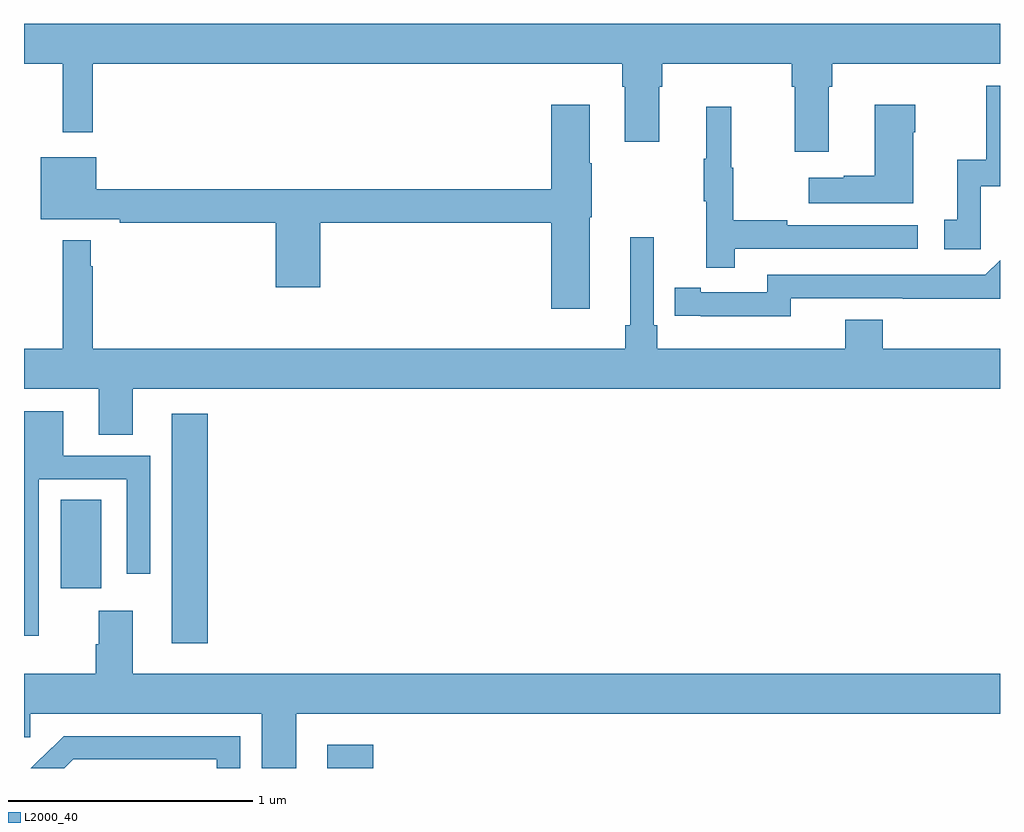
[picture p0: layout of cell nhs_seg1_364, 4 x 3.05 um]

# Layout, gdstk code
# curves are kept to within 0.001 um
import gdstk
lib = gdstk.Library(unit=1e-6, precision=1e-09)
def R(c, l, rs):  # rectangles x0, y0, x1, y1
    for r in rs: c.add(gdstk.rectangle(r[:2], r[2:], *l))
def P(c, l, *ps):  # polygons
    for p in ps: c.add(gdstk.Polygon(p, *l))
L2000_40 = (2000, 40)

nhs_seg1_364 = lib.new_cell('nhs_seg1_364')
R(nhs_seg1_364, L2000_40, [(132.243,526.199,132.431,526.297), (131.606,526.713,131.753,527.653), (131.15,526.938,131.317,527.3)])
P(nhs_seg1_364, L2000_40, [(134.299,528.992),(134.312,528.992),(134.312,529.088),(135,529.088),(135,529.252),(131,529.252),(131,529.088),(131.159,529.088),(131.159,528.807),(131.281,528.807),(131.281,529.088),(133.451,529.088),(133.451,528.992),(133.463,528.992),(133.463,528.768),(133.603,528.768),(133.603,528.992),(133.616,528.992),(133.616,529.088),(134.147,529.088),(134.147,528.992),(134.159,528.992),(134.159,528.726),(134.299,528.726)],
  [(134.922,528.585),(135,528.585),(135,528.996),(134.943,528.996),(134.943,528.694),(134.825,528.694),(134.825,528.447),(134.772,528.447),(134.772,528.327),(134.922,528.327)],
  [(134.644,528.806),(134.652,528.806),(134.652,528.919),(134.486,528.919),(134.486,528.629),(134.36,528.629),(134.36,528.619),(134.217,528.619),(134.217,528.515),(134.644,528.515)],
  [(133.318,528.459),(133.326,528.459),(133.326,528.68),(133.318,528.68),(133.318,528.919),(133.16,528.919),(133.16,528.572),(131.296,528.572),(131.296,528.703),(131.069,528.703),(131.069,528.449),(131.392,528.449),(131.392,528.436),(132.032,528.436),(132.032,528.171),(132.215,528.171),(132.215,528.436),(133.16,528.436),(133.16,528.084),(133.318,528.084)],
  [(133.913,528.33),(134.662,528.33),(134.662,528.426),(134.129,528.426),(134.129,528.446),(133.906,528.446),(133.906,528.66),(133.898,528.66),(133.898,528.91),(133.796,528.91),(133.796,528.697),(133.785,528.697),(133.785,528.523),(133.796,528.523),(133.796,528.252),(133.913,528.252)],
  [(131.446,527.756),(135,527.756),(135,527.92),(134.519,527.92),(134.519,528.037),(134.366,528.037),(134.366,527.92),(133.595,527.92),(133.595,528.016),(133.581,528.016),(133.581,528.376),(133.484,528.376),(133.484,528.016),(133.465,528.016),(133.465,527.92),(131.281,527.92),(131.281,528.257),(131.274,528.257),(131.274,528.364),(131.159,528.364),(131.159,527.92),(131,527.92),(131,527.756),(131.306,527.756),(131.306,527.566),(131.446,527.566)],
  [(134.142,528.126),(135,528.125),(135,528.282),(134.94,528.222),(134.046,528.222),(134.046,528.15),(133.774,528.15),(133.774,528.17),(133.666,528.17),(133.666,528.054),(134.142,528.053)],
  [(131.061,527.385),(131.421,527.385),(131.421,526.998),(131.517,526.998),(131.517,527.481),(131.161,527.481),(131.161,527.662),(131,527.662),(131,526.742),(131.061,526.742)],
  [(132.115,526.424),(135,526.424),(135,526.588),(131.446,526.588),(131.446,526.846),(131.306,526.846),(131.306,526.709),(131.294,526.709),(131.294,526.588),(131,526.588),(131,526.326),(131.025,526.326),(131.025,526.424),(131.975,526.424),(131.975,526.199),(132.115,526.199)],
  [(131.202,526.236),(131.789,526.236),(131.789,526.199),(131.886,526.199),(131.886,526.332),(131.162,526.332),(131.071,526.241),(131.07,526.242),(131.027,526.199),(131.165,526.199)])

lib.write_gds('nhs_seg1_364.gds')
